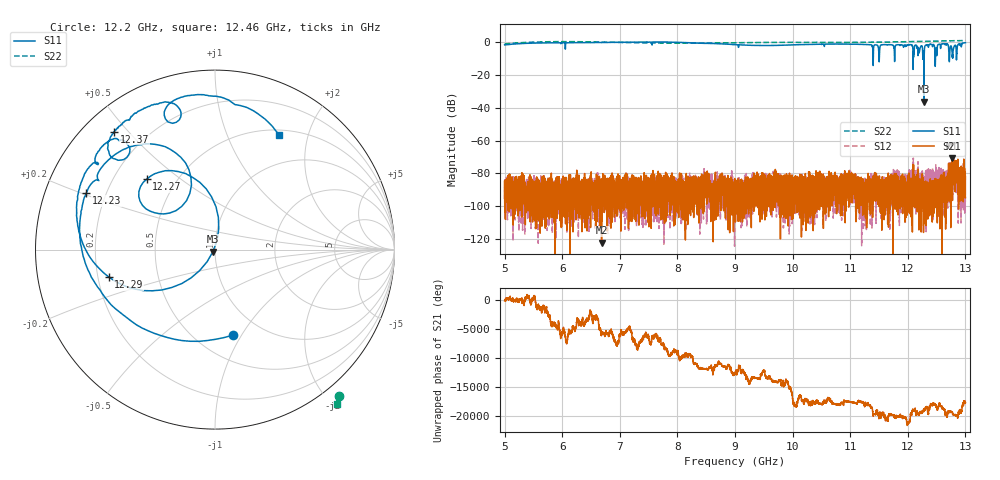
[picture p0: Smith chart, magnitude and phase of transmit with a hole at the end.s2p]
!Agilent Technologies,E8362C,MY49020356,A.09.42.23
!Agilent E8362C: A.09.42.23
!Date: Saturday, September 11, 2021 02:11:55
!Correction: S11(Full 2 Port(1,2))
!S21(Full 2 Port(1,2))
!S12(Full 2 Port(1,2))
!S22(Full 2 Port(1,2))
!S2P File: Measurements: S11, S21, S12, S22:
# Hz S  MA  R 50
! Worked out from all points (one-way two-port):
!   12801 points, 5 GHz to 13 GHz, reference 50 ohm
!   highest |S21| = -70.94 dB at 12.77 GHz (marker M1); lowest = -122.5 dB at 6.684 GHz (marker M2)
!   lowest |S11| = -36.2 dB at 12.28 GHz (marker M3), VSWR 1.03, Z = 48.9 - j1.05 ohm
!   |S11| at or under -10 dB: 12.27719 GHz to 12.28371 GHz (6.511 MHz wide, 0.053 % of centre); 12.47356 GHz to 12.47982 GHz (6.255 MHz wide, 0.0501 % of centre); 12.71719 GHz to 12.72394 GHz (6.747 MHz wide, 0.053 % of centre)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
!   |S22| runs from -1.0 to 1.2 dB; largest |S21 - S12| = 0.00036
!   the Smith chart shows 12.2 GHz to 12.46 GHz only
!   S11 on the Smith chart (normalised r, x): 12.2 GHz: 0.73, -0.92; 12.23 GHz: 0.13, +0.21; 12.27 GHz: 0.34, +0.38; 12.29 GHz: 0.24, -0.12; 12.37 GHz: 0.09, +0.46; 12.46 GHz: 0.57, +1.56
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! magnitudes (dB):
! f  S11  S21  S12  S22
! 5 GHz  -1.5  -95.4  -94.3  -1.0
! 6.334 GHz  -0.1  -93.7  -88.0  0.4
! 6.684 GHz  0.0  -122.5  -92.9  0.2
! 7.667 GHz  0.2  -78.8  -88.9  -0.4
! 9 GHz  -1.3  -94.2  -92.1  -0.2
! 10.33 GHz  -1.1  -90.5  -96.8  0.0
! 11.32 GHz  -1.3  -87.8  -87.5  0.1
! 11.5 GHz  -5.3  -88.5  -93.3  0.2
! 11.67 GHz  -1.4  -81.1  -93.8  0.3
! 12.04 GHz  -1.3  -90.3  -83.2  0.5
! 12.2 GHz  -6.2  -92.7  -99.1  0.6
! 12.23 GHz  -2.1  -91.0  -85.6  0.7
! 12.27 GHz  -5.2  -87.2  -90.0  0.7
! 12.28 GHz  -36.2  -89.9  -83.4  0.7
! 12.29 GHz  -4.3  -94.1  -98.2  0.7
! 12.37 GHz  -1.3  -87.7  -87.6  0.7
! 12.43 GHz  -1.8  -103.9  -86.3  0.8
! 12.46 GHz  -2.7  -90.2  -94.2  0.8
! 12.62 GHz  -0.8  -81.1  -88.0  0.9
! 12.75 GHz  -2.1  -80.1  -86.8  1.0
! 12.77 GHz  -8.1  -70.9  -80.8  1.0
! 13 GHz  -0.2  -82.0  -94.6  1.2
